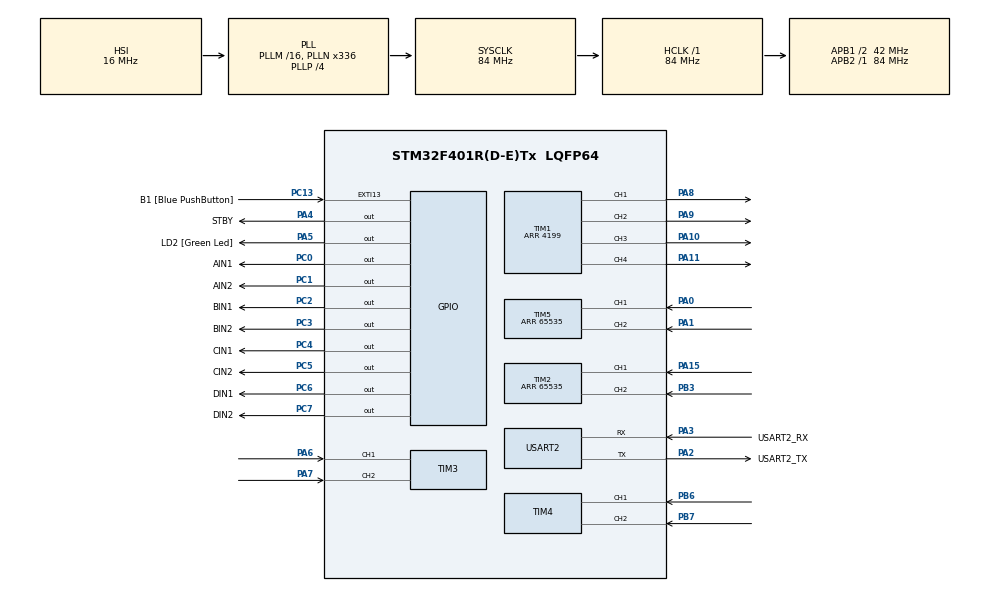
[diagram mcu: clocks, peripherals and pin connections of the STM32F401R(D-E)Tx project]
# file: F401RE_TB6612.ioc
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Mcu.Family=STM32F4
Mcu.Name=STM32F401R(D-E)Tx
Mcu.Package=LQFP64
NVIC.PriorityGroup=NVIC_PRIORITYGROUP_4
NVIC.TIM1_BRK_TIM9_IRQn=true\:5\:0\:true\:false\:true\:true\:true\:true
NVIC.USART2_IRQn=true\:6\:0\:true\:false\:true\:true\:true\:true
PA0-WKUP.Signal=S_TIM5_CH1
PA1.Signal=S_TIM5_CH2
PA10.Signal=S_TIM1_CH3
PA11.Signal=S_TIM1_CH4
PA13.GPIO_Label=TMS
PA13.Mode=Serial_Wire
PA13.Signal=SYS_JTMS-SWDIO
PA14.GPIO_Label=TCK
PA14.Mode=Serial_Wire
PA14.Signal=SYS_JTCK-SWCLK
PA15.Signal=S_TIM2_CH1_ETR
PA2.GPIO_Label=USART2_TX
PA2.GPIO_Mode=GPIO_MODE_AF_PP
PA2.GPIO_PuPd=GPIO_NOPULL
PA2.GPIO_Speed=GPIO_SPEED_FREQ_LOW
PA2.Mode=Asynchronous
PA2.Signal=USART2_TX
PA3.GPIO_Label=USART2_RX
PA3.GPIO_Mode=GPIO_MODE_AF_PP
PA3.GPIO_PuPd=GPIO_NOPULL
PA3.GPIO_Speed=GPIO_SPEED_FREQ_LOW
PA3.Mode=Asynchronous
PA3.Signal=USART2_RX
PA4.GPIO_Label=STBY
PA4.Signal=GPIO_Output
PA5.GPIO_Label=LD2 [Green Led]
PA5.GPIO_Mode=GPIO_MODE_OUTPUT_PP
PA5.GPIO_PuPd=GPIO_NOPULL
PA5.GPIO_Speed=GPIO_SPEED_FREQ_LOW
PA5.Signal=GPIO_Output
PA6.Signal=S_TIM3_CH1
PA7.Signal=S_TIM3_CH2
PA8.Signal=S_TIM1_CH1
PA9.Signal=S_TIM1_CH2
PB3.Signal=S_TIM2_CH2
PB6.Signal=S_TIM4_CH1
PB7.Signal=S_TIM4_CH2
PC0.GPIO_Label=AIN1
PC0.Signal=GPIO_Output
PC1.GPIO_Label=AIN2
PC1.Signal=GPIO_Output
PC13-ANTI_TAMP.GPIO_Label=B1 [Blue PushButton]
PC13-ANTI_TAMP.GPIO_ModeDefaultEXTI=GPIO_MODE_IT_FALLING
PC13-ANTI_TAMP.GPIO_PuPd=GPIO_NOPULL
PC13-ANTI_TAMP.Signal=GPXTI13
PC14-OSC32_IN.Mode=LSE-External-Oscillator
PC14-OSC32_IN.Signal=RCC_OSC32_IN
PC15-OSC32_OUT.Mode=LSE-External-Oscillator
PC15-OSC32_OUT.Signal=RCC_OSC32_OUT
PC2.GPIO_Label=BIN1
PC2.Signal=GPIO_Output
PC3.GPIO_Label=BIN2
PC3.Signal=GPIO_Output
PC4.GPIO_Label=CIN1
PC4.Signal=GPIO_Output
PC5.GPIO_Label=CIN2
PC5.Signal=GPIO_Output
PC6.GPIO_Label=DIN1
PC6.Signal=GPIO_Output
PC7.GPIO_Label=DIN2
PC7.Signal=GPIO_Output
PH0\ -\ OSC_IN.Signal=RCC_OSC_IN
PH1\ -\ OSC_OUT.Signal=RCC_OSC_OUT
ProjectManager.HeapSize=0x200
ProjectManager.StackSize=0x400
ProjectManager.TargetToolchain=STM32CubeIDE
RCC.48MHZClocksFreq_Value=48000000
RCC.AHBFreq_Value=84000000
RCC.APB1CLKDivider=RCC_HCLK_DIV2
RCC.APB1Freq_Value=42000000
RCC.APB1TimFreq_Value=84000000
RCC.APB2Freq_Value=84000000
RCC.APB2TimFreq_Value=84000000
RCC.CortexFreq_Value=84000000
RCC.HCLKFreq_Value=84000000
RCC.HSE_VALUE=16000000
RCC.HSI_VALUE=16000000
RCC.PLLN=336
RCC.PLLP=RCC_PLLP_DIV4
RCC.PLLQ=7
RCC.SYSCLKFreq_VALUE=84000000
RCC.SYSCLKSource=RCC_SYSCLKSOURCE_PLLCLK
RCC.VCOOutputFreq_Value=336000000
SH.S_TIM1_CH1.0=TIM1_CH1,PWM Generation1 CH1
SH.S_TIM1_CH2.0=TIM1_CH2,PWM Generation2 CH2
SH.S_TIM1_CH3.0=TIM1_CH3,PWM Generation3 CH3
SH.S_TIM1_CH4.0=TIM1_CH4,PWM Generation4 CH4
SH.S_TIM2_CH1_ETR.0=TIM2_CH1,Encoder_Interface
SH.S_TIM2_CH2.0=TIM2_CH2,Encoder_Interface
SH.S_TIM3_CH1.0=TIM3_CH1,Encoder_Interface
SH.S_TIM3_CH2.0=TIM3_CH2,Encoder_Interface
SH.S_TIM4_CH1.0=TIM4_CH1,Encoder_Interface
SH.S_TIM4_CH2.0=TIM4_CH2,Encoder_Interface
SH.S_TIM5_CH1.0=TIM5_CH1,Encoder_Interface
SH.S_TIM5_CH2.0=TIM5_CH2,Encoder_Interface
TIM1.Channel-PWM\ Generation1\ CH1=TIM_CHANNEL_1
TIM1.Channel-PWM\ Generation2\ CH2=TIM_CHANNEL_2
TIM1.Channel-PWM\ Generation3\ CH3=TIM_CHANNEL_3
TIM1.Channel-PWM\ Generation4\ CH4=TIM_CHANNEL_4
TIM1.OCMode_PWM-PWM\ Generation3\ CH3=TIM_OCMODE_PWM1
TIM1.Period=4199
TIM2.EncoderMode=TIM_ENCODERMODE_TI12
TIM2.IC1Filter=6
TIM2.IC2Filter=6
TIM2.Period=65535
TIM3.EncoderMode=TIM_ENCODERMODE_TI12
TIM3.IC1Filter=6
TIM3.IC2Filter=6
TIM4.EncoderMode=TIM_ENCODERMODE_TI12
TIM4.IC1Filter=6
TIM4.IC2Filter=6
TIM5.EncoderMode=TIM_ENCODERMODE_TI12
TIM5.IC1Filter=6
TIM5.IC2Filter=6
TIM5.Period=65535
TIM9.Period=99
TIM9.Prescaler=8399
USART2.VirtualMode=VM_ASYNC
VP_TIM1_VS_ClockSourceINT.Mode=Internal
VP_TIM9_VS_ClockSourceINT.Mode=Internal
board=NUCLEO-F401RE

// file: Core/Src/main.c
/* USER CODE BEGIN Header */
/**
  ******************************************************************************
  * @file           : main.c
  * @brief          : Main program body
  ******************************************************************************
  * @attention
  *
  * Copyright (c) 2026 STMicroelectronics.
  * All rights reserved.
  *
  * This software is licensed under terms that can be found in the LICENSE file
  * in the root directory of this software component.
  * If no LICENSE file comes with this software, it is provided AS-IS.
  *
  ******************************************************************************
  */
/* USER CODE END Header */
#include "main.h"
#include "tim.h"
#include "usart.h"
#include "gpio.h"

/* USER CODE BEGIN Includes */
/* 头文件声明“有哪些函数可以调用”，具体函数实现在同名 .c 中。
 * ROBOT_APP_MODE 是编译期选择：模式 7 编入遥控入口，其余模式保留本地测试。
 * #if 与运行时 if 不同；修改模式后需要重新编译、下载才能改变固件行为。 */
#include "motor4.h"
#include "mecanum.h"
#include "robot_app.h"
#if ROBOT_APP_MODE == 7
#include "remote_control.h"
#endif
/* USER CODE END Includes */

/* USER CODE BEGIN PV */
/* 按键、行驶路线和串口状态由 robot_app.c 管理，电机状态由 motor4.c 管理。
 * main.c 只把这些模块连接起来，因此不再另外保存一套电机控制变量。 */
/* USER CODE END PV */

void SystemClock_Config(void);

/* USER CODE BEGIN 0 */
/* 阅读本工程可按以下顺序理解：
 * 1. main.c：上电初始化、启动定时器、反复调用应用程序。
 * 2. robot_app.h/.c：按键、路线阶段、启动延迟、运行时间和串口日志。
 * 3. mecanum.h/.c：将前进/横移/转弯要求分解为四个轮子的目标 RPM。
 * 4. motor4.h/.c：读编码器、计算转速、PI 调速、输出 PWM 和方向。
 * 5. tim.c / gpio.c / usart.c：CubeMX 生成的外设配置。
 *
 * 主循环决定“什么时候、往哪里走”；TIM9 每 10ms 中断一次，负责“怎样调速”。
 * PWM 波形和编码器计数由定时器硬件完成，不需要 CPU 对每个脉冲逐个操作。
 * 自写内容尽量放在 USER CODE 区域；CubeMX 开启保留用户代码后可保留这些区域。
 */
/* USER CODE END 0 */

int main(void)
{

  /* USER CODE BEGIN 1 */
  /* 上电流程：HAL 基础初始化 -> 系统时钟 -> GPIO/各定时器/串口配置
   * -> 电机模块初始化并启动 PWM、编码器 -> 启动 10ms 控制中断 -> 应用初始化。
   * 配置外设不等于让小车运动；遥控模式收到握手、使能和有效速度指令后才会运动。 */
  /* USER CODE END 1 */

  /* MCU Configuration--------------------------------------------------------*/

  /* Reset of all peripherals, Initializes the Flash interface and the Systick. */
  HAL_Init();

  /* USER CODE BEGIN Init */
  /* HAL_Init 建立 HAL 基础环境和 SysTick 毫秒计时；它不启动电机。
   * 后面的 MX_xxx_Init 配置外设，Motor4_Init 和 Start_IT 才负责启动对应硬件。
   * HAL_OK 表示初始化成功；其他返回值交给 Error_Handler 统一撤销驱动。 */
  /* USER CODE END Init */

  /* Configure the system clock */
  SystemClock_Config();

  /* USER CODE BEGIN SysInit */
  /* 当前时钟使用芯片内部 HSI 16MHz，不依赖 ST-LINK 提供外部时钟：
   * PLL 输入 = 16MHz / M(16) = 1MHz；VCO = 1MHz * N(336) = 336MHz；
   * SYSCLK = 336MHz / P(4) = 84MHz，AHB 不分频，所以 CPU/HCLK 为 84MHz。
   * APB1 分频 2 后 PCLK1=42MHz，APB2 不分频所以 PCLK2=84MHz。
   * 本配置下 APB1 定时器时钟自动乘 2，APB2 定时器不再乘 2，均为 84MHz。
   * 时钟改变后，PWM 频率、控制周期和串口波特率都要重新核对。 */
  /* 术语对应：HSI=高速内部振荡源，PLL=锁相环，VCO=PLL 内部振荡器；
   * M/N/P 分别是输入分频、内部倍频、输出分频，336MHz 不是 CPU 频率。
   * SYSCLK 是系统选中的主时钟；AHB/APB 是内部总线，HCLK/PCLK 是对应时钟。
   * APB1 上的 USART2 使用 PCLK1=42MHz；定时器分支才按当前规则得到 84MHz。
   * 这里的说明属于注释，真正设置寄存器的是 SystemClock_Config 函数。 */
  /* USER CODE END SysInit */

  /* Initialize all configured peripherals */
  MX_GPIO_Init();
  MX_TIM1_Init();
  MX_TIM3_Init();
  MX_TIM4_Init();
  MX_USART2_UART_Init();
  MX_TIM2_Init();
  MX_TIM5_Init();
  MX_TIM9_Init();
  /* USER CODE BEGIN 2 */
  /* motor4 持有四路电机状态，先完成初始化，避免定时中断读到未就绪的数据。 */
  /* 首先保持 STBY 关闭，启动 PWM 和编码器读取能力，等待应用下发非零目标。
   * 初始化不等于使能遥控；连接、使能和速度目标由 remote_control 分开管理。 */
  if (Motor4_Init() != HAL_OK) {
      Error_Handler();
  }
  /* TIM9 作为全车共用的 10ms 节拍。启动前清零计数器和旧更新标志，
   * 避免把初始化时留下的更新标志误当作一次新的控制周期。 */
  __HAL_TIM_SET_COUNTER(&htim9, 0);
  __HAL_TIM_CLEAR_FLAG(&htim9, TIM_FLAG_UPDATE);
  if (HAL_TIM_Base_Start_IT(&htim9) != HAL_OK) {
      Error_Handler();
  }
  /* 应用从停止状态开始；模式7建立遥控接收状态，其余模式初始化按键/路线。
   * 遥控的结构化T遥测和本地测试的READY文本由各自模式的主循环流程输出。 */
  RobotApp_Init();
/* USER CODE END 2 */

  /* Infinite loop */
  while (1)
  {

    /* USER CODE BEGIN 3 */
    /* 每次轮询只处理当前该做的事，不用长延时等待 5秒/12秒路线结束。
     * 这样运动期间仍能检查按键、故障和超时。HAL_Delay(1) 只是约 1ms 的让步；
     * 它不产生电机的 10ms 控制周期，控制周期由 TIM9 中断独立提供。 */
    RobotApp_Poll();
    HAL_Delay(1);
  }
/* USER CODE END 3 */
}

void SystemClock_Config(void)
{
  RCC_OscInitTypeDef RCC_OscInitStruct = {0};
  RCC_ClkInitTypeDef RCC_ClkInitStruct = {0};

  /** Configure the main internal regulator output voltage
  */
  __HAL_RCC_PWR_CLK_ENABLE();
  __HAL_PWR_VOLTAGESCALING_CONFIG(PWR_REGULATOR_VOLTAGE_SCALE2);

  /** Initializes the RCC Oscillators according to the specified parameters
  * in the RCC_OscInitTypeDef structure.
  */
  RCC_OscInitStruct.OscillatorType = RCC_OSCILLATORTYPE_HSI;
  RCC_OscInitStruct.HSIState = RCC_HSI_ON;
  RCC_OscInitStruct.HSICalibrationValue = RCC_HSICALIBRATION_DEFAULT;
  RCC_OscInitStruct.PLL.PLLState = RCC_PLL_ON;
  RCC_OscInitStruct.PLL.PLLSource = RCC_PLLSOURCE_HSI;
  RCC_OscInitStruct.PLL.PLLM = 16;
  RCC_OscInitStruct.PLL.PLLN = 336;
  RCC_OscInitStruct.PLL.PLLP = RCC_PLLP_DIV4;
  RCC_OscInitStruct.PLL.PLLQ = 7;
  if (HAL_RCC_OscConfig(&RCC_OscInitStruct) != HAL_OK)
  {
    Error_Handler();
  }

  /** Initializes the CPU, AHB and APB buses clocks
  */
  RCC_ClkInitStruct.ClockType = RCC_CLOCKTYPE_HCLK|RCC_CLOCKTYPE_SYSCLK
                              |RCC_CLOCKTYPE_PCLK1|RCC_CLOCKTYPE_PCLK2;
  RCC_ClkInitStruct.SYSCLKSource = RCC_SYSCLKSOURCE_PLLCLK;
  RCC_ClkInitStruct.AHBCLKDivider = RCC_SYSCLK_DIV1;
  RCC_ClkInitStruct.APB1CLKDivider = RCC_HCLK_DIV2;
  RCC_ClkInitStruct.APB2CLKDivider = RCC_HCLK_DIV1;

  if (HAL_RCC_ClockConfig(&RCC_ClkInitStruct, FLASH_LATENCY_2) != HAL_OK)
  {
    Error_Handler();
  }
}

/* USER CODE BEGIN 4 */
/* 中断调用链：TIM9 更新事件 -> TIM1_BRK_TIM9_IRQHandler（stm32f4xx_it.c）
 * -> HAL_TIM_IRQHandler -> 本回调 -> 四路编码器测速、PI 调速和故障检查。
 * TIM1 和 TIM9 共用中断入口，故通过 Instance 判断，只让 TIM9 驱动控制节拍。
 * 此处在中断环境中执行，应短小，不能加串口打印、长延时或路线等待。 */
void HAL_TIM_PeriodElapsedCallback(TIM_HandleTypeDef *htim)
{
    if (htim->Instance == TIM9) {
#if ROBOT_APP_MODE == 7
        /* 指令超时和本地停止先于本周期PI输出，不依赖主循环是否阻塞。 */
        /* 主循环负责接收和解析“下一条命令”，本中断独立检查“已有命令是否过期”。
         * 若许可失效，先停止，再让 motor4 处理停止后的状态，避免继续输出旧目标。 */
        RemoteControl_Tick10ms();
#endif
        Motor4_ControlTick10ms();
    }
}
/* USER CODE END 4 */

void Error_Handler(void)
{
  /* USER CODE BEGIN Error_Handler_Debug */
  /* 初始化等关键 HAL 操作失败会走到这里：先拉低共享 STBY，撤销四轮驱动，
   * 再关闭中断并停留，等待排查或复位；普通轮询故障由 motor4/robot_app 处理。 */
  HAL_GPIO_WritePin(GPIOA, GPIO_PIN_4, GPIO_PIN_RESET);
  __disable_irq();
  while (1) {
  }
/* USER CODE END Error_Handler_Debug */
}
